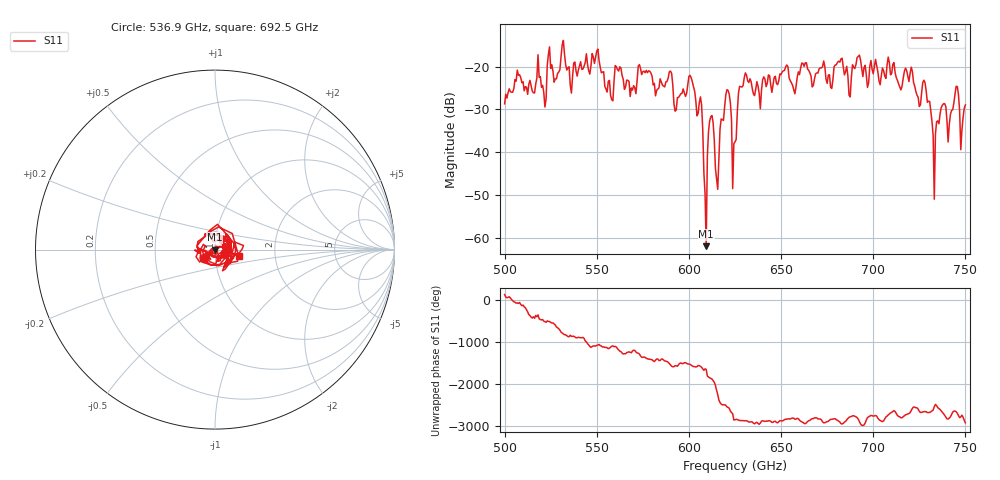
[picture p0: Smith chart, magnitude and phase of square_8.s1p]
!Created with skrf (http://scikit-rf.org).
# GHz S MA R 50.0
!freq magS11 angS11
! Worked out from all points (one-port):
!   401 points, 500 GHz to 750 GHz, reference 50 ohm
!   lowest |S11| = -62.0 dB at 609.4 GHz (marker M1), VSWR 1.00, Z = 49.9 + j0.0408 ohm
!   |S11| at or under -10 dB: start of sweep to end of sweep
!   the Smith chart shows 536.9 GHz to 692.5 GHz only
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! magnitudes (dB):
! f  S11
! 500 GHz  -28.7
! 507.5 GHz  -22.0
! 521.2 GHz  -26.0
! 531.2 GHz  -14.9
! 535.6 GHz  -24.4
! 550.6 GHz  -15.9
! 557.5 GHz  -26.8
! 562.5 GHz  -20.1
! 589.4 GHz  -21.2
! 593.8 GHz  -27.3
! 601.9 GHz  -23.6
! 606.2 GHz  -27.1
! 609.4 GHz  -62.0
! 611.9 GHz  -31.7
! 615 GHz  -46.3
! 620.6 GHz  -25.4
! 625 GHz  -37.6
! 627.5 GHz  -24.6
! 630.6 GHz  -21.5
! 656.2 GHz  -24.4
! 681.9 GHz  -19.0
! 687.5 GHz  -27.1
! 691.9 GHz  -17.6
! 718.8 GHz  -22.3
! 728.1 GHz  -23.8
! 733.1 GHz  -51.0
! 738.1 GHz  -28.7
! 750 GHz  -29.0
